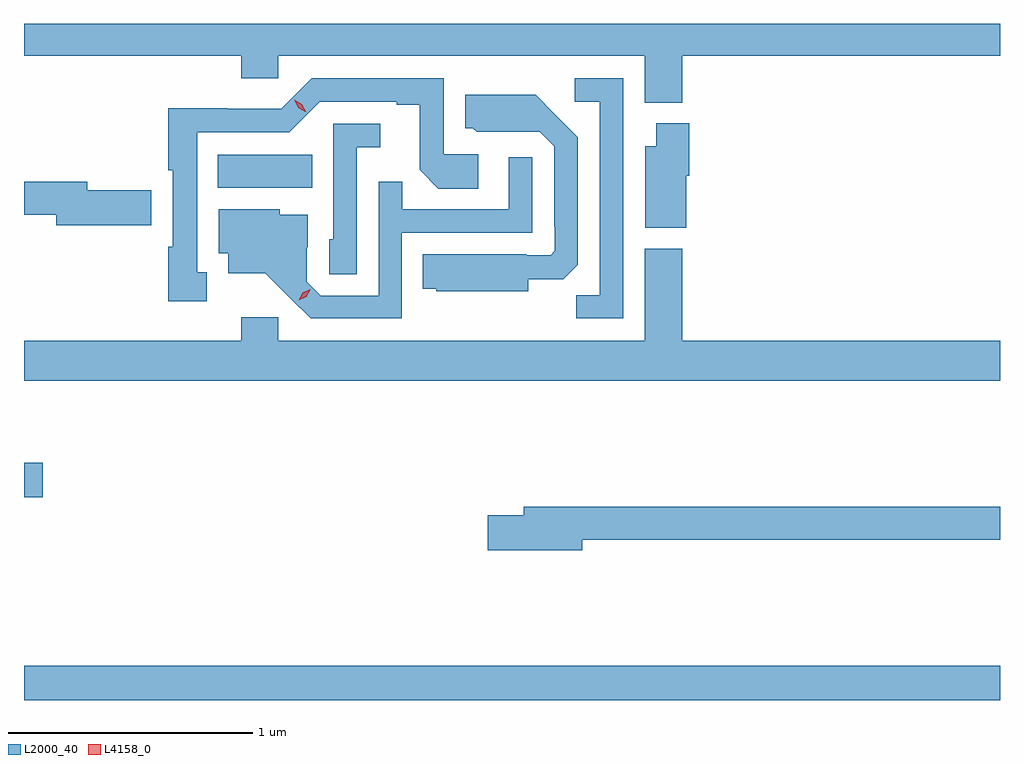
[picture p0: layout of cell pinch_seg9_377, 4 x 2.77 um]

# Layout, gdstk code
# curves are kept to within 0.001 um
import gdstk
lib = gdstk.Library(unit=1e-6, precision=1e-09)
def R(c, l, rs):  # rectangles x0, y0, x1, y1
    for r in rs: c.add(gdstk.rectangle(r[:2], r[2:], *l))
def P(c, l, *ps):  # polygons
    for p in ps: c.add(gdstk.Polygon(p, *l))
L2000_40 = (2000, 40)
L4158_0 = (4158, 0)

pinch_seg9_377 = lib.new_cell('pinch_seg9_377')
R(pinch_seg9_377, L2000_40, [(337.262,1245.726,341.262,1245.868), (337.262,1246.559,337.339,1246.701), (338.057,1247.828,338.444,1247.962)])
P(pinch_seg9_377, L2000_40, [(339.959,1248.368),(341.262,1248.368),(341.262,1248.5),(337.262,1248.5),(337.262,1248.368),(338.153,1248.368),(338.153,1248.275),(338.304,1248.275),(338.304,1248.368),(339.806,1248.368),(339.806,1248.176),(339.959,1248.176)],
  [(338.011,1247.481),(337.972,1247.481),(337.972,1248.054),(338.349,1248.054),(338.475,1248.18),(338.789,1248.18),(338.789,1248.168),(338.883,1248.168),(338.883,1247.9),(338.959,1247.824),(339.124,1247.824),(339.124,1247.964),(338.982,1247.964),(338.982,1248.276),(338.442,1248.276),(338.316,1248.15),(338.094,1248.15),(338.094,1248.152),(337.854,1248.152),(337.854,1247.899),(337.871,1247.899),(337.871,1247.585),(337.854,1247.585),(337.854,1247.361),(338.011,1247.361)],
  [(339.717,1248.276),(339.519,1248.276),(339.519,1248.18),(339.621,1248.18),(339.621,1247.387),(339.526,1247.387),(339.526,1247.292),(339.717,1247.292)],
  [(339.328,1247.453),(339.472,1247.453),(339.531,1247.512),(339.531,1248.034),(339.359,1248.208),(339.071,1248.208),(339.071,1248.072),(339.102,1248.072),(339.118,1248.056),(339.375,1248.057),(339.435,1247.997),(339.435,1247.668),(339.438,1247.668),(339.438,1247.568),(339.42,1247.55),(339.32,1247.55),(339.32,1247.554),(338.896,1247.554),(338.896,1247.414),(338.952,1247.414),(338.952,1247.402),(339.328,1247.402)],
  [(339.976,1247.877),(339.989,1247.877),(339.989,1248.091),(339.854,1248.091),(339.854,1247.998),(339.809,1247.998),(339.809,1247.663),(339.976,1247.663)],
  [(338.625,1247.993),(338.722,1247.993),(338.722,1248.09),(338.529,1248.09),(338.529,1247.616),(338.514,1247.616),(338.514,1247.473),(338.625,1247.473)],
  [(338.811,1247.643),(339.345,1247.643),(339.345,1247.953),(339.249,1247.953),(339.249,1247.739),(338.813,1247.739),(338.813,1247.852),(338.715,1247.852),(338.715,1247.385),(338.478,1247.385),(338.421,1247.442),(338.421,1247.584),(338.425,1247.584),(338.425,1247.716),(338.31,1247.716),(338.31,1247.74),(338.06,1247.74),(338.06,1247.558),(338.099,1247.558),(338.099,1247.477),(338.251,1247.477),(338.438,1247.292),(338.811,1247.292)],
  [(337.783,1247.816),(337.522,1247.816),(337.522,1247.852),(337.262,1247.852),(337.262,1247.716),(337.394,1247.716),(337.394,1247.674),(337.783,1247.674)],
  [(341.262,1247.2),(339.959,1247.2),(339.959,1247.578),(339.806,1247.578),(339.806,1247.2),(338.304,1247.2),(338.304,1247.296),(338.153,1247.296),(338.153,1247.2),(337.262,1247.2),(337.262,1247.036),(341.262,1247.036)],
  [(339.55,1246.384),(341.262,1246.384),(341.262,1246.52),(339.311,1246.52),(339.311,1246.484),(339.162,1246.484),(339.162,1246.342),(339.55,1246.342)])
P(pinch_seg9_377, L4158_0, [(338.387,1247.367),(338.387,1247.367),(338.405,1247.396),(338.435,1247.411),(338.436,1247.411),(338.436,1247.41),(338.418,1247.381),(338.387,1247.367)],
  [(338.418,1248.137),(338.386,1248.156),(338.369,1248.188),(338.369,1248.188),(338.369,1248.188),(338.401,1248.169),(338.418,1248.137),(338.418,1248.137)])

lib.write_gds('pinch_seg9_377.gds')
